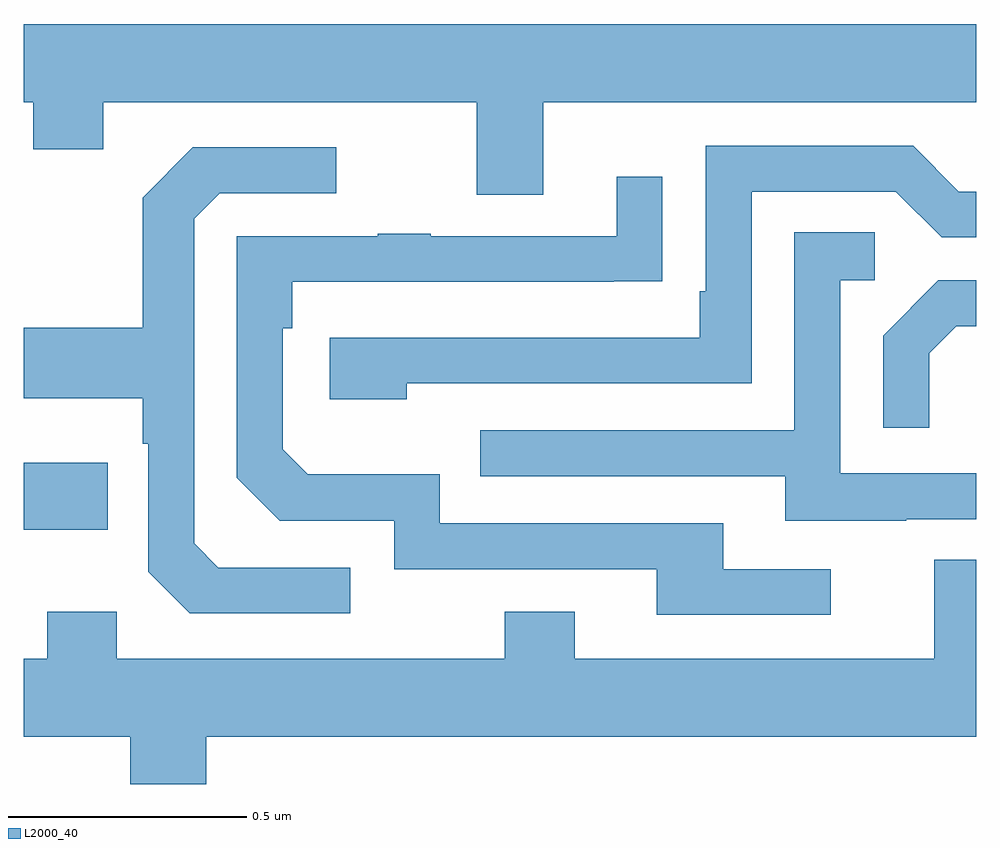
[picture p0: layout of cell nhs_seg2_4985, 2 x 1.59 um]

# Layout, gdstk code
import gdstk
lib = gdstk.Library(unit=1e-6, precision=1e-09)
def R(c, l, rs):  # rectangles x0, y0, x1, y1
    for r in rs: c.add(gdstk.rectangle(r[:2], r[2:], *l))
def P(c, l, *ps):  # polygons
    for p in ps: c.add(gdstk.Polygon(p, *l))
L2000_40 = (2000, 40)

nhs_seg2_4985 = lib.new_cell('nhs_seg2_4985')
R(nhs_seg2_4985, L2000_40, [(173,633.419,173.177,633.559)])
P(nhs_seg2_4985, L2000_40, [(174.091,634.316),(175,634.316),(175,634.48),(173,634.48),(173,634.316),(173.02,634.316),(173.02,634.217),(173.167,634.217),(173.167,634.316),(173.951,634.316),(173.951,634.122),(174.091,634.122)],
  [(173.804,633.726),(174.528,633.726),(174.528,634.128),(174.831,634.128),(174.927,634.032),(175,634.032),(175,634.128),(174.963,634.128),(174.867,634.224),(174.432,634.224),(174.432,633.919),(174.419,633.919),(174.419,633.822),(173.643,633.822),(173.643,633.692),(173.804,633.692)],
  [(173.686,633.339),(173.409,633.339),(173.358,633.39),(173.358,634.071),(173.412,634.125),(173.656,634.125),(173.656,634.221),(173.355,634.221),(173.25,634.115),(173.25,633.843),(173,633.843),(173,633.695),(173.25,633.695),(173.25,633.599),(173.262,633.599),(173.262,633.33),(173.349,633.243),(173.686,633.243)],
  [(174.694,633.336),(174.469,633.336),(174.469,633.432),(173.874,633.432),(173.874,633.535),(173.597,633.535),(173.544,633.588),(173.544,633.842),(173.564,633.842),(173.564,633.939),(174.239,633.939),(174.239,633.94),(174.341,633.94),(174.341,634.159),(174.245,634.159),(174.245,634.035),(173.855,634.035),(173.855,634.04),(173.743,634.04),(173.743,634.035),(173.448,634.035),(173.448,633.528),(173.538,633.438),(173.778,633.438),(173.778,633.336),(174.329,633.336),(174.329,633.24),(174.694,633.24)],
  [(174.853,633.441),(175,633.441),(175,633.537),(174.714,633.537),(174.714,633.942),(174.787,633.942),(174.787,634.043),(174.618,634.043),(174.618,633.627),(173.959,633.627),(173.959,633.531),(174.599,633.531),(174.599,633.437),(174.853,633.437)],
  [(174.901,633.789),(174.958,633.846),(175,633.846),(175,633.942),(174.92,633.942),(174.804,633.826),(174.804,633.633),(174.901,633.633)],
  [(173.384,632.984),(175,632.984),(175,633.356),(174.911,633.356),(174.911,633.148),(174.157,633.148),(174.157,633.247),(174.01,633.247),(174.01,633.148),(173.196,633.148),(173.196,633.247),(173.05,633.247),(173.05,633.148),(173,633.148),(173,632.984),(173.224,632.984),(173.224,632.885),(173.384,632.885)])

lib.write_gds('nhs_seg2_4985.gds')
